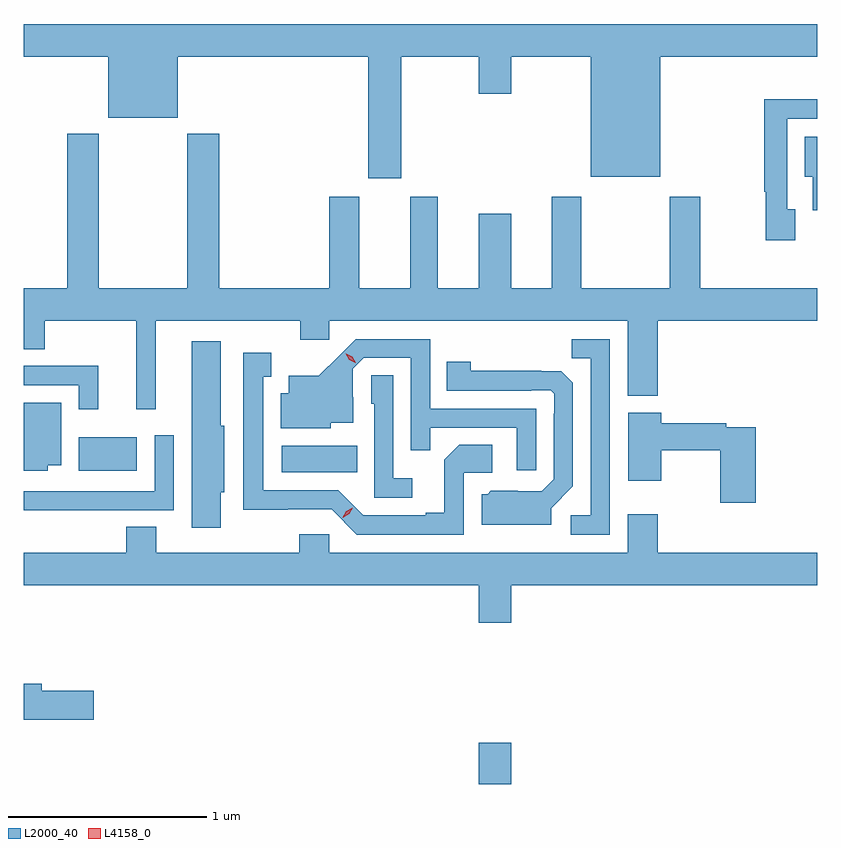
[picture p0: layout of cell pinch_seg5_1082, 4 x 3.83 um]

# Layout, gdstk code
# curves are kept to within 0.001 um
import gdstk
lib = gdstk.Library(unit=1e-6, precision=1e-09)
def R(c, l, rs):  # rectangles x0, y0, x1, y1
    for r in rs: c.add(gdstk.rectangle(r[:2], r[2:], *l))
def P(c, l, *ps):  # polygons
    for p in ps: c.add(gdstk.Polygon(p, *l))
L2000_40 = (2000, 40)
L4158_0 = (4158, 0)

pinch_seg5_1082 = lib.new_cell('pinch_seg5_1082')
R(pinch_seg5_1082, L2000_40, [(764.408,842.439,764.572,842.647), (763.416,844.01,763.796,844.144), (762.392,844.016,762.685,844.186)])
P(pinch_seg5_1082, L2000_40, [(764.017,846.104),(764.408,846.104),(764.408,845.916),(764.572,845.916),(764.572,846.104),(764.972,846.104),(764.972,845.498),(765.322,845.498),(765.322,846.104),(766.115,846.104),(766.115,846.268),(762.115,846.268),(762.115,846.104),(762.542,846.104),(762.542,845.795),(762.892,845.795),(762.892,846.104),(763.853,846.104),(763.853,845.49),(764.017,845.49)],
  [(766.003,845.334),(765.963,845.334),(765.963,845.79),(766.115,845.79),(766.115,845.888),(765.847,845.888),(765.847,845.422),(765.855,845.422),(765.855,845.178),(766.003,845.178)],
  [(763.656,844.772),(765.158,844.772),(765.158,844.394),(765.311,844.394),(765.311,844.772),(766.115,844.772),(766.115,844.936),(765.525,844.936),(765.525,845.398),(765.37,845.398),(765.37,844.936),(764.925,844.936),(764.925,845.398),(764.777,845.398),(764.777,844.936),(764.572,844.936),(764.572,845.311),(764.408,845.311),(764.408,844.936),(764.203,844.936),(764.203,845.398),(764.063,845.398),(764.063,844.936),(763.807,844.936),(763.807,845.398),(763.655,845.398),(763.655,844.936),(763.1,844.936),(763.1,845.716),(762.94,845.716),(762.94,844.936),(762.495,844.936),(762.495,845.716),(762.335,845.716),(762.335,844.936),(762.115,844.936),(762.115,844.63),(762.222,844.63),(762.222,844.772),(762.683,844.772),(762.683,844.326),(762.782,844.326),(762.782,844.772),(763.51,844.772),(763.51,844.677),(763.656,844.677)],
  [(766.115,845.701),(766.052,845.701),(766.052,845.498),(766.091,845.498),(766.091,845.33),(766.115,845.33)],
  [(764.697,844.329),(764.163,844.329),(764.163,844.68),(763.79,844.68),(763.603,844.495),(763.451,844.495),(763.451,844.408),(763.412,844.408),(763.412,844.232),(763.662,844.232),(763.662,844.259),(763.777,844.259),(763.777,844.388),(763.773,844.388),(763.773,844.53),(763.83,844.587),(764.067,844.587),(764.067,844.12),(764.165,844.12),(764.165,844.233),(764.601,844.233),(764.601,844.02),(764.697,844.02)],
  [(765.069,844.68),(764.878,844.68),(764.878,844.585),(764.973,844.585),(764.973,843.792),(764.871,843.792),(764.871,843.696),(765.069,843.696)],
  [(763.108,843.909),(763.126,843.909),(763.126,844.245),(763.108,844.245),(763.108,844.669),(762.962,844.669),(762.962,843.729),(763.108,843.729)],
  [(764.334,844.008),(764.476,844.008),(764.476,844.148),(764.311,844.148),(764.235,844.072),(764.235,843.805),(764.141,843.805),(764.141,843.792),(763.827,843.792),(763.701,843.918),(763.324,843.918),(763.324,844.491),(763.363,844.491),(763.363,844.612),(763.223,844.612),(763.223,843.821),(763.668,843.822),(763.794,843.696),(764.334,843.696)],
  [(764.773,843.828),(764.883,843.938),(764.883,844.46),(764.824,844.519),(764.367,844.52),(764.367,844.567),(764.248,844.567),(764.248,844.419),(764.672,844.419),(764.672,844.422),(764.772,844.422),(764.79,844.404),(764.79,844.304),(764.787,844.304),(764.787,843.975),(764.727,843.915),(764.47,843.916),(764.454,843.9),(764.423,843.9),(764.423,843.746),(764.773,843.746)],
  [(762.491,844.545),(762.115,844.545),(762.115,844.449),(762.393,844.449),(762.393,844.326),(762.491,844.326)],
  [(764.074,843.979),(763.977,843.979),(763.977,844.499),(763.866,844.499),(763.866,844.356),(763.881,844.356),(763.881,843.882),(764.074,843.882)],
  [(762.238,844.046),(762.304,844.046),(762.304,844.36),(762.115,844.36),(762.115,844.016),(762.238,844.016)],
  [(765.803,844.236),(765.656,844.236),(765.656,844.256),(765.328,844.256),(765.328,844.309),(765.161,844.309),(765.161,843.966),(765.328,843.966),(765.328,844.12),(765.625,844.12),(765.625,843.855),(765.803,843.855)],
  [(762.548,843.819),(762.873,843.819),(762.873,844.195),(762.777,844.195),(762.777,843.915),(762.115,843.915),(762.115,843.818),(762.548,843.818)],
  [(764.572,843.44),(766.115,843.44),(766.115,843.604),(765.311,843.604),(765.311,843.799),(765.158,843.799),(765.158,843.604),(763.656,843.604),(763.656,843.697),(763.505,843.697),(763.505,843.604),(762.784,843.604),(762.784,843.734),(762.632,843.734),(762.632,843.604),(762.115,843.604),(762.115,843.44),(764.408,843.44),(764.408,843.252),(764.572,843.252)],
  [(762.469,842.909),(762.208,842.909),(762.208,842.945),(762.115,842.945),(762.115,842.762),(762.469,842.762)])
P(pinch_seg5_1082, L4158_0, [(763.787,844.561),(763.757,844.576),(763.739,844.606),(763.739,844.606),(763.74,844.606),(763.77,844.591),(763.788,844.561),(763.788,844.561)],
  [(763.723,843.781),(763.723,843.782),(763.741,843.814),(763.773,843.832),(763.773,843.832),(763.773,843.831),(763.755,843.8),(763.724,843.781)])

lib.write_gds('pinch_seg5_1082.gds')
